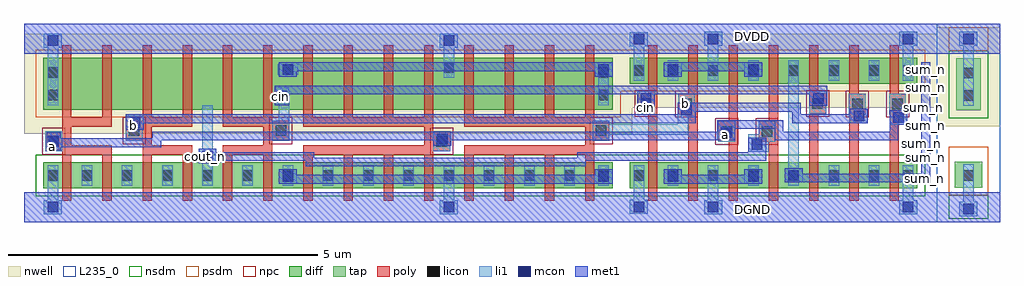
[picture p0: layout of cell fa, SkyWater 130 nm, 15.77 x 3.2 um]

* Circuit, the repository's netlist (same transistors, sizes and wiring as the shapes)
* NGSPICE file created from fa.ext - technology: sky130A

.subckt fa sum_n cout_n a b cin DVDD DGND
X0 a_n2314_190# b a_n2444_190# DVDD sky130_fd_pr__pfet_01v8 ad=0.21 pd=1.34 as=0.21 ps=1.34 w=0.84 l=0.15
X1 a_n2184_190# b a_n2314_190# DVDD sky130_fd_pr__pfet_01v8 ad=0.21 pd=1.34 as=0.21 ps=1.34 w=0.84 l=0.15
X2 a_n1664_190# a a_n1794_190# DVDD sky130_fd_pr__pfet_01v8 ad=0.21 pd=1.34 as=0.21 ps=1.34 w=0.84 l=0.15
X3 a_n1144_190# b a_n1274_190# DVDD sky130_fd_pr__pfet_01v8 ad=0.21 pd=1.34 as=0.21 ps=1.34 w=0.84 l=0.15
X4 a_n2574_190# a DVDD DVDD sky130_fd_pr__pfet_01v8 ad=0.21 pd=1.34 as=0.252 ps=2.28 w=0.84 l=0.15
X5 a_n1534_190# a a_n1664_190# DVDD sky130_fd_pr__pfet_01v8 ad=0.21 pd=1.34 as=0.21 ps=1.34 w=0.84 l=0.15
X6 a_n1014_190# b a_n1144_190# DVDD sky130_fd_pr__pfet_01v8 ad=0.21 pd=1.34 as=0.21 ps=1.34 w=0.84 l=0.15
X7 a_n1924_190# cin a_n2054_190# DVDD sky130_fd_pr__pfet_01v8 ad=0.21 pd=1.34 as=0.21 ps=1.34 w=0.84 l=0.15
X8 DVDD a a_n1534_190# DVDD sky130_fd_pr__pfet_01v8 ad=0.21 pd=1.34 as=0.21 ps=1.34 w=0.84 l=0.15
X9 a_n30_n64# b a_n160_n64# DGND sky130_fd_pr__nfet_01v8 ad=0.105 pd=0.92 as=0.105 ps=0.92 w=0.42 l=0.15
X10 a_n1794_190# a a_n1924_190# DVDD sky130_fd_pr__pfet_01v8 ad=0.21 pd=1.34 as=0.21 ps=1.34 w=0.84 l=0.15
X11 a_n1274_190# b DVDD DVDD sky130_fd_pr__pfet_01v8 ad=0.21 pd=1.34 as=0.21 ps=1.34 w=0.84 l=0.15
X12 a_n2054_n64# cin cout_n DGND sky130_fd_pr__nfet_01v8 ad=0.105 pd=0.92 as=0.105 ps=0.92 w=0.42 l=0.15
X13 a_n1924_190# b a_n1014_190# DVDD sky130_fd_pr__pfet_01v8 ad=0.252 pd=2.28 as=0.21 ps=1.34 w=0.84 l=0.15
X14 a_n2444_n64# a a_n2574_n64# DGND sky130_fd_pr__nfet_01v8 ad=0.105 pd=0.92 as=0.105 ps=0.92 w=0.42 l=0.15
X15 a_n160_n64# cin sum_n DGND sky130_fd_pr__nfet_01v8 ad=0.105 pd=0.92 as=0.105 ps=0.92 w=0.42 l=0.15
X16 a_n2314_n64# b a_n2444_n64# DGND sky130_fd_pr__nfet_01v8 ad=0.105 pd=0.92 as=0.105 ps=0.92 w=0.42 l=0.15
X17 DGND b a_n680_n64# DGND sky130_fd_pr__nfet_01v8 ad=0.105 pd=0.92 as=0.105 ps=0.92 w=0.42 l=0.15
X18 cout_n b a_n2314_n64# DGND sky130_fd_pr__nfet_01v8 ad=0.105 pd=0.92 as=0.105 ps=0.92 w=0.42 l=0.15
X19 a_n1664_n64# a a_n1794_n64# DGND sky130_fd_pr__nfet_01v8 ad=0.105 pd=0.92 as=0.105 ps=0.92 w=0.42 l=0.15
X20 a_n1144_n64# b a_n1274_n64# DGND sky130_fd_pr__nfet_01v8 ad=0.105 pd=0.92 as=0.105 ps=0.92 w=0.42 l=0.15
X21 a_n680_n64# a DGND DGND sky130_fd_pr__nfet_01v8 ad=0.105 pd=0.92 as=0.105 ps=0.92 w=0.42 l=0.15
X22 a_n30_274# b a_n160_274# DVDD sky130_fd_pr__pfet_01v8 ad=0.105 pd=0.92 as=0.105 ps=0.92 w=0.42 l=0.15
X23 a_n2574_n64# a DGND DGND sky130_fd_pr__nfet_01v8 ad=0.105 pd=0.92 as=0.126 ps=1.44 w=0.42 l=0.15
X24 a_n1534_n64# a a_n1664_n64# DGND sky130_fd_pr__nfet_01v8 ad=0.105 pd=0.92 as=0.105 ps=0.92 w=0.42 l=0.15
X25 a_n1014_n64# b a_n1144_n64# DGND sky130_fd_pr__nfet_01v8 ad=0.105 pd=0.92 as=0.105 ps=0.92 w=0.42 l=0.15
X26 sum_n cout_n a_n680_n64# DGND sky130_fd_pr__nfet_01v8 ad=0.105 pd=0.92 as=0.105 ps=0.92 w=0.42 l=0.15
X27 a_n1924_n64# cin a_n2054_n64# DGND sky130_fd_pr__nfet_01v8 ad=0.105 pd=0.92 as=0.105 ps=0.92 w=0.42 l=0.15
X28 DGND a a_n1534_n64# DGND sky130_fd_pr__nfet_01v8 ad=0.105 pd=0.92 as=0.105 ps=0.92 w=0.42 l=0.15
X29 a_n680_n64# cin DGND DGND sky130_fd_pr__nfet_01v8 ad=0.105 pd=0.92 as=0.126 ps=1.44 w=0.42 l=0.15
X30 DGND a a_n30_n64# DGND sky130_fd_pr__nfet_01v8 ad=0.126 pd=1.44 as=0.105 ps=0.92 w=0.42 l=0.15
X31 a_n160_274# cin sum_n DVDD sky130_fd_pr__pfet_01v8 ad=0.105 pd=0.92 as=0.105 ps=0.92 w=0.42 l=0.15
X32 a_n1794_n64# a a_n1924_n64# DGND sky130_fd_pr__nfet_01v8 ad=0.105 pd=0.92 as=0.105 ps=0.92 w=0.42 l=0.15
X33 a_n1274_n64# b DGND DGND sky130_fd_pr__nfet_01v8 ad=0.105 pd=0.92 as=0.105 ps=0.92 w=0.42 l=0.15
X34 a_n1924_n64# b a_n1014_n64# DGND sky130_fd_pr__nfet_01v8 ad=0.126 pd=1.44 as=0.105 ps=0.92 w=0.42 l=0.15
X35 DVDD b a_n680_274# DVDD sky130_fd_pr__pfet_01v8 ad=0.105 pd=0.92 as=0.105 ps=0.92 w=0.42 l=0.15
X36 a_n680_274# a DVDD DVDD sky130_fd_pr__pfet_01v8 ad=0.105 pd=0.92 as=0.105 ps=0.92 w=0.42 l=0.15
X37 sum_n cout_n a_n680_274# DVDD sky130_fd_pr__pfet_01v8 ad=0.105 pd=0.92 as=0.105 ps=0.92 w=0.42 l=0.15
X38 a_n2054_190# cin a_n2184_190# DVDD sky130_fd_pr__pfet_01v8 ad=0.21 pd=1.34 as=0.21 ps=1.34 w=0.84 l=0.15
X39 a_n680_274# cin DVDD DVDD sky130_fd_pr__pfet_01v8 ad=0.105 pd=0.92 as=0.126 ps=1.44 w=0.42 l=0.15
X40 DVDD a a_n30_274# DVDD sky130_fd_pr__pfet_01v8 ad=0.126 pd=1.44 as=0.105 ps=0.92 w=0.42 l=0.15
X41 a_n2444_190# a a_n2574_190# DVDD sky130_fd_pr__pfet_01v8 ad=0.21 pd=1.34 as=0.21 ps=1.34 w=0.84 l=0.15
.ends

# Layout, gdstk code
from math import pi, radians
import gdstk
lib = gdstk.Library(unit=1e-6, precision=1e-09)
def R(c, l, rs):  # rectangles x0, y0, x1, y1
    for r in rs: c.add(gdstk.rectangle(r[:2], r[2:], *l))
def A(c, l, x, y, w, h, nx, ny, dx, dy):  # array of equal rectangles
    R(c, l, [(x+i*dx, y+j*dy, x+i*dx+w, y+j*dy+h) for i in range(nx) for j in range(ny)])
nwell = (64, 20)
diff = (65, 20)
tap = (65, 44)
poly = (66, 20)
licon = (66, 44)
li1 = (67, 20)
mcon = (67, 44)
met1 = (68, 20)
nsdm = (93, 44)
psdm = (94, 20)
npc = (95, 20)
L235_0 = (235, 0)

nfet_1 = lib.new_cell('nfet$1')
R(nfet_1, diff, [(0,0,4.65,0.42)])
A(nfet_1, poly, 0.3, -0.2, 0.15, 0.82, 7, 1, 0.65, 0)
A(nfet_1, licon, 0.615, 0.125, 0.17, 0.17, 6, 1, 0.65, 0)
R(nfet_1, licon, [(0.065,0.125,0.235,0.295), (4.415,0.125,4.585,0.295)])
A(nfet_1, li1, 0.615, 0.045, 0.17, 0.33, 6, 1, 0.65, 0)
R(nfet_1, li1, [(0.065,0.045,0.235,0.375), (4.415,0.045,4.585,0.375)])
R(nfet_1, nsdm, [(-0.125,-0.125,4.775,0.545)])

vias_gen = lib.new_cell('vias_gen')
R(vias_gen, li1, [(0,0,0.29,0.23)])
R(vias_gen, mcon, [(0.06,0.03,0.23,0.2)])
R(vias_gen, met1, [(0,0,0.29,0.23)])

tap_ = lib.new_cell('tap')
R(tap_, nwell, [(-1.455,0.92,-0.435,2.525)])
R(tap_, tap, [(-1.17,-0.07,-0.72,0.35), (-1.14,1.18,-0.75,2.02)])
R(tap_, licon, [(-1.03,0.04,-0.86,0.21), (-1.03,1.335,-0.86,1.505), (-1.03,1.695,-0.86,1.865)])
R(tap_, li1, [(-1.03,-0.3,-0.86,-0.025), (-1.03,-0.025,-0.86,0.305), (-1.03,1.255,-0.86,1.945), (-1.03,1.945,-0.86,2.25)])
R(tap_, met1, [(-1.455,-0.625,-0.435,-0.145), (-1.455,2.095,-0.435,2.575)])
R(tap_, nsdm, [(-1.265,-0.575,-0.625,-0.195), (-1.265,1.055,-0.625,2.145)])
R(tap_, psdm, [(-1.265,-0.195,-0.625,0.59), (-1.265,2.145,-0.625,2.525)])
R(tap_, L235_0, [(-1.455,-0.625,-0.435,2.575)])
tap_.add(gdstk.Reference(vias_gen, (-1.09,-0.53)))
tap_.add(gdstk.Reference(vias_gen, (-1.09,2.22)))

vias_gen_1 = lib.new_cell('vias_gen$1')
R(vias_gen_1, li1, [(0,0,0.29,0.23)])
R(vias_gen_1, mcon, [(0.06,0.03,0.23,0.2)])
R(vias_gen_1, met1, [(0,0,0.29,0.23)])

vias_gen_2 = lib.new_cell('vias_gen$2')
R(vias_gen_2, poly, [(0,0,0.33,0.27)])
R(vias_gen_2, licon, [(0.08,0.05,0.25,0.22)])
R(vias_gen_2, li1, [(0,0,0.33,0.27)])
R(vias_gen_2, npc, [(-0.05,-0.05,0.38,0.32)])

vias_gen_3 = lib.new_cell('vias_gen$3')
R(vias_gen_3, li1, [(0,0,0.29,0.23)])
R(vias_gen_3, mcon, [(0.06,0.03,0.23,0.2)])
R(vias_gen_3, met1, [(0,0,0.29,0.23)])

vias_gen_4 = lib.new_cell('vias_gen$4')
R(vias_gen_4, li1, [(0,0,0.29,0.23)])
R(vias_gen_4, mcon, [(0.06,0.03,0.23,0.2)])
R(vias_gen_4, met1, [(0,0,0.29,0.23)])

pfet_1 = lib.new_cell('pfet$1')
R(pfet_1, nwell, [(-0.315,-0.39,4.965,0.81)])
R(pfet_1, diff, [(0,0,4.65,0.42)])
A(pfet_1, poly, 0.3, -0.2, 0.15, 0.82, 7, 1, 0.65, 0)
A(pfet_1, licon, 0.615, 0.125, 0.17, 0.17, 6, 1, 0.65, 0)
R(pfet_1, licon, [(0.065,0.125,0.235,0.295), (4.415,0.125,4.585,0.295)])
A(pfet_1, li1, 0.615, 0.045, 0.17, 0.33, 6, 1, 0.65, 0)
R(pfet_1, li1, [(0.065,0.045,0.235,0.375), (4.415,0.045,4.585,0.375)])
R(pfet_1, psdm, [(-0.125,-0.125,4.775,0.545)])

vias_gen_5 = lib.new_cell('vias_gen$5')
R(vias_gen_5, li1, [(0,0,0.29,0.23)])
R(vias_gen_5, mcon, [(0.06,0.03,0.23,0.2)])
R(vias_gen_5, met1, [(0,0,0.29,0.23)])

pfet_2 = lib.new_cell('pfet$2')
R(pfet_2, nwell, [(-0.315,-0.39,9.515,1.23)])
R(pfet_2, diff, [(0,0,9.2,0.84)])
A(pfet_2, poly, 0.3, -0.2, 0.15, 1.24, 14, 1, 0.65, 0)
R(pfet_2, licon, [(0.065,0.155,0.235,0.325), (8.965,0.155,9.135,0.325), (0.065,0.515,0.235,0.685), (8.965,0.515,9.135,0.685)])
R(pfet_2, li1, [(0.065,0.075,0.235,0.765), (8.965,0.075,9.135,0.765)])
R(pfet_2, psdm, [(-0.125,-0.125,9.325,0.965)])

nfet_2 = lib.new_cell('nfet$2')
R(nfet_2, diff, [(0,0,9.2,0.42)])
A(nfet_2, poly, 0.3, -0.2, 0.15, 0.82, 14, 1, 0.65, 0)
A(nfet_2, licon, 0.615, 0.125, 0.17, 0.17, 13, 1, 0.65, 0)
R(nfet_2, licon, [(0.065,0.125,0.235,0.295), (8.965,0.125,9.135,0.295)])
A(nfet_2, li1, 0.615, 0.045, 0.17, 0.33, 13, 1, 0.65, 0)
R(nfet_2, li1, [(0.065,0.045,0.235,0.375), (8.965,0.045,9.135,0.375)])
R(nfet_2, nsdm, [(-0.125,-0.125,9.325,0.545)])

c_fa = lib.new_cell('fa')
R(c_fa, licon, [(-9.455,1.515,-9.285,1.685), (-6.855,1.545,-6.685,1.715)])
R(c_fa, li1, [(-1.645,0.27,-1.605,0.435), (-1.935,0.5,-1.765,0.555), (-9.535,1.515,-9.205,1.685)])
R(c_fa, met1, [(-13.635,-0.865,1.115,-0.385), (-1.935,0.265,-1.645,0.27), (-9.58,1.315,-9.35,1.34), (-13.635,1.855,1.115,2.335)])
R(c_fa, nsdm, [(-3.995,-0.445,-3.975,0.225)])
R(c_fa, psdm, [(-3.995,1.245,-3.975,1.915)])
c_fa.add(gdstk.FlexPath([(-6.77,-0.275),(-6.77,-0.51)], 0.17, ends="flush", simple_path=True, layer=67, datatype=20))  # li1
c_fa.add(gdstk.FlexPath([(-6.77,1.465),(-6.77,1.95)], 0.17, ends="flush", simple_path=True, layer=67, datatype=20))  # li1
c_fa.add(gdstk.FlexPath([(-13.17,1.715),(-13.17,1.95)], 0.17, ends="flush", simple_path=True, layer=67, datatype=20))  # li1
c_fa.add(gdstk.FlexPath([(-13.17,-0.275),(-13.17,-0.51)], 0.17, ends="flush", simple_path=True, layer=67, datatype=20))  # li1
c_fa.add(gdstk.FlexPath([(-10.67,0.055),(-10.67,1.025)], 0.17, ends="flush", simple_path=True, layer=67, datatype=20))  # li1
c_fa.add(gdstk.FlexPath([(-2.99,0.83),(-2.99,0.63),(-4.175,0.63)], 0.17, ends="flush", simple_path=True, layer=67, datatype=20))  # li1
c_fa.add(gdstk.FlexPath([(-9.435,0.775),(-9.435,1.05)], 0.17, ends="flush", simple_path=True, layer=67, datatype=20))  # li1
c_fa.add(gdstk.FlexPath([(-2.5,1.745),(-2.5,1.98)], 0.17, ends="flush", simple_path=True, layer=67, datatype=20))  # li1
c_fa.add(gdstk.FlexPath([(-3.7,1.74),(-3.7,1.975)], 0.17, ends="flush", simple_path=True, layer=67, datatype=20))  # li1
c_fa.add(gdstk.FlexPath([(0.65,1.745),(0.65,1.98)], 0.17, ends="flush", simple_path=True, layer=67, datatype=20))  # li1
c_fa.add(gdstk.FlexPath([(-1.2,1.415),(-1.2,0.055)], 0.17, ends="flush", simple_path=True, layer=67, datatype=20))  # li1
c_fa.add(gdstk.FlexPath([(-2.5,-0.275),(-2.5,-0.51)], 0.17, ends="flush", simple_path=True, layer=67, datatype=20))  # li1
c_fa.add(gdstk.FlexPath([(-3.7,-0.27),(-3.7,-0.505)], 0.17, ends="flush", simple_path=True, layer=67, datatype=20))  # li1
c_fa.add(gdstk.FlexPath([(0.65,-0.275),(0.65,-0.51)], 0.17, ends="flush", simple_path=True, layer=67, datatype=20))  # li1
c_fa.add(gdstk.FlexPath([(0.42,0.455),(0.42,0.71)], 0.14, ends="flush", simple_path=True, layer=68, datatype=20))  # met1
c_fa.add(gdstk.FlexPath([(0.35,0.525),(-1.365,0.525)], 0.14, ends="flush", simple_path=True, layer=68, datatype=20))  # met1
c_fa.add(gdstk.FlexPath([(-1.055,-0.155),(0.935,-0.155),(0.935,1.715)], 0.14, ends="flush", simple_path=True, layer=68, datatype=20))  # met1
c_fa.add(gdstk.FlexPath([(-4.415,-0.175),(-9.225,-0.175)], 0.14, ends="flush", simple_path=True, layer=68, datatype=20))  # met1
c_fa.add(gdstk.FlexPath([(-4.415,1.645),(-9.225,1.645)], 0.14, ends="flush", simple_path=True, layer=68, datatype=20))  # met1
c_fa.add(gdstk.FlexPath([(-1.645,0.195),(-4.555,0.195)], 0.14, ends="flush", simple_path=True, layer=68, datatype=20))  # met1
c_fa.add(gdstk.FlexPath([(-2.785,0.805),(-11.99,0.805)], 0.14, ends="flush", simple_path=True, layer=68, datatype=20))  # met1
c_fa.add(gdstk.FlexPath([(-3.73,1.27),(-9.35,1.27)], 0.14, ends="flush", simple_path=True, layer=68, datatype=20))  # met1
c_fa.add(gdstk.FlexPath([(-2.435,0.525),(-11.56,0.525)], 0.14, ends="flush", simple_path=True, layer=68, datatype=20))  # met1
c_fa.add(gdstk.FlexPath([(-11.49,0.525),(-11.49,0.415),(-13.04,0.415)], 0.14, ends="flush", simple_path=True, layer=68, datatype=20))  # met1
c_fa.add(gdstk.FlexPath([(-4.625,0.265),(-4.625,0.105),(-9.085,0.105)], 0.14, ends="flush", simple_path=True, layer=68, datatype=20))  # met1
c_fa.add(gdstk.FlexPath([(-9.015,0.035),(-9.015,0.195),(-10.525,0.195),(-10.525,0.195),(-10.525,0.195)], 0.14, ends="flush", simple_path=True, layer=68, datatype=20))  # met1
c_fa.add(gdstk.FlexPath([(-3.005,-0.175),(-1.995,-0.175)], 0.14, ends="flush", simple_path=True, layer=68, datatype=20))  # met1
c_fa.add(gdstk.FlexPath([(-3.005,1.645),(-1.995,1.645)], 0.14, ends="flush", simple_path=True, layer=68, datatype=20))  # met1
c_fa.add(gdstk.FlexPath([(-3.73,1.27),(-0.655,1.27)], 0.14, ends="flush", simple_path=True, layer=68, datatype=20))  # met1
c_fa.add(gdstk.FlexPath([(-1.085,0.805),(-0.29,0.805)], 0.14, ends="flush", simple_path=True, layer=68, datatype=20))  # met1
c_fa.add(gdstk.FlexPath([(-1.155,0.735),(-1.155,1.06)], 0.14, ends="flush", simple_path=True, layer=68, datatype=20))  # met1
c_fa.add(gdstk.FlexPath([(-1.225,0.99),(-2.785,0.99)], 0.14, ends="flush", simple_path=True, layer=68, datatype=20))  # met1
c_fa.add(gdstk.FlexPath([(-1.435,0.455),(-1.435,0.71),(-2.435,0.71)], 0.14, ends="flush", simple_path=True, layer=68, datatype=20))  # met1
c_fa.add(gdstk.FlexPath([(-4.42,0.75),(-6.505,0.75),(-6.52,0.75)], 0.15, ends="flush", simple_path=True, layer=66, datatype=20))  # poly
c_fa.add(gdstk.FlexPath([(-4.42,0.3),(-6.52,0.3)], 0.15, ends="flush", simple_path=True, layer=66, datatype=20))  # poly
c_fa.add(gdstk.FlexPath([(-7.02,0.75),(-9.12,0.75)], 0.15, ends="flush", simple_path=True, layer=66, datatype=20))  # poly
c_fa.add(gdstk.FlexPath([(-7.02,0.3),(-9.12,0.3)], 0.15, ends="flush", simple_path=True, layer=66, datatype=20))  # poly
c_fa.add(gdstk.FlexPath([(-9.62,0.3),(-10.42,0.3)], 0.15, ends="flush", simple_path=True, layer=66, datatype=20))  # poly
c_fa.add(gdstk.FlexPath([(-9.62,0.75),(-10.42,0.75)], 0.15, ends="flush", simple_path=True, layer=66, datatype=20))  # poly
c_fa.add(gdstk.FlexPath([(-10.92,0.75),(-11.72,0.75)], 0.15, ends="flush", simple_path=True, layer=66, datatype=20))  # poly
c_fa.add(gdstk.FlexPath([(-12.22,0.75),(-13.02,0.75)], 0.15, ends="flush", simple_path=True, layer=66, datatype=20))  # poly
c_fa.add(gdstk.FlexPath([(-12.22,0.3),(-13.02,0.3)], 0.15, ends="flush", simple_path=True, layer=66, datatype=20))  # poly
c_fa.add(gdstk.FlexPath([(-10.92,0.3),(-11.72,0.3)], 0.15, ends="flush", simple_path=True, layer=66, datatype=20))  # poly
c_fa.add(gdstk.FlexPath([(-11.645,0.375),(-11.645,0.675)], 0.15, ends="flush", simple_path=True, layer=66, datatype=20))  # poly
c_fa.add(gdstk.FlexPath([(-12.945,0.375),(-12.945,0.675)], 0.15, ends="flush", simple_path=True, layer=66, datatype=20))  # poly
c_fa.add(gdstk.FlexPath([(-7.095,0.375),(-7.095,0.675)], 0.15, ends="flush", simple_path=True, layer=66, datatype=20))  # poly
c_fa.add(gdstk.FlexPath([(-9.695,0.375),(-9.695,0.675)], 0.15, ends="flush", simple_path=True, layer=66, datatype=20))  # poly
c_fa.add(gdstk.FlexPath([(-4.495,0.375),(-4.495,0.675)], 0.15, ends="flush", simple_path=True, layer=66, datatype=20))  # poly
c_fa.add(gdstk.FlexPath([(0.425,0.3),(0.425,1.17)], 0.15, ends="flush", simple_path=True, layer=66, datatype=20))  # poly
c_fa.add(gdstk.FlexPath([(-0.225,0.3),(-0.225,1.17)], 0.15, ends="flush", simple_path=True, layer=66, datatype=20))  # poly
c_fa.add(gdstk.FlexPath([(-0.875,0.3),(-0.875,1.17)], 0.15, ends="flush", simple_path=True, layer=66, datatype=20))  # poly
c_fa.add(gdstk.FlexPath([(-1.525,0.3),(-1.525,1.17)], 0.15, ends="flush", simple_path=True, layer=66, datatype=20))  # poly
c_fa.add(gdstk.FlexPath([(-2.175,0.3),(-2.175,1.17)], 0.15, ends="flush", simple_path=True, layer=66, datatype=20))  # poly
c_fa.add(gdstk.FlexPath([(-2.825,0.3),(-2.825,1.17)], 0.15, ends="flush", simple_path=True, layer=66, datatype=20))  # poly
c_fa.add(gdstk.FlexPath([(-3.475,0.3),(-3.475,1.17)], 0.15, ends="flush", simple_path=True, layer=66, datatype=20))  # poly
c_fa.add(gdstk.Reference(nfet_1, (-3.85,-0.32)))
c_fa.add(gdstk.Reference(tap_, (2.57,-0.24)))
c_fa.add(gdstk.Reference(vias_gen_1, (-2.645,-0.74)))
c_fa.add(gdstk.Reference(vias_gen_1, (-3.845,-0.735)))
c_fa.add(gdstk.Reference(vias_gen_2, (-3.45,0.885), rotation=pi/2))
c_fa.add(gdstk.Reference(vias_gen_2, (-2.795,0.875), rotation=pi/2))
c_fa.add(gdstk.Reference(vias_gen_2, (-2.145,0.435), rotation=pi/2))
c_fa.add(gdstk.Reference(vias_gen_3, (0.505,-0.74)))
c_fa.add(gdstk.Reference(vias_gen_2, (-0.675,0.885), rotation=pi/2))
c_fa.add(gdstk.Reference(vias_gen_2, (-1.495,0.435), rotation=pi/2))
c_fa.add(gdstk.Reference(vias_gen_4, (-3.73,1.015)))
c_fa.add(gdstk.Reference(vias_gen_2, (0.615,0.875), rotation=pi/2))
c_fa.add(gdstk.Reference(vias_gen_4, (-2.645,2.21), x_reflection=True))
c_fa.add(gdstk.Reference(vias_gen_4, (-0.945,1.015)))
c_fa.add(gdstk.Reference(vias_gen_2, (-0.035,0.875), rotation=pi/2))
c_fa.add(gdstk.Reference(vias_gen_3, (-3.295,-0.245)))
c_fa.add(gdstk.Reference(vias_gen_4, (-3.075,0.83)))
c_fa.add(gdstk.Reference(vias_gen_4, (-0.29,0.735)))
c_fa.add(gdstk.Reference(pfet_1, (-3.85,1.37)))
c_fa.add(gdstk.Reference(vias_gen_4, (-3.845,2.205), x_reflection=True))
c_fa.add(gdstk.Reference(vias_gen_4, (0.505,2.21), x_reflection=True))
c_fa.add(gdstk.Reference(vias_gen_4, (-1.995,-0.245)))
c_fa.add(gdstk.Reference(vias_gen_4, (-3.295,1.715), x_reflection=True))
c_fa.add(gdstk.Reference(vias_gen_4, (-1.995,1.715), x_reflection=True))
c_fa.add(gdstk.Reference(vias_gen_4, (-2.435,0.455)))
c_fa.add(gdstk.Reference(vias_gen_4, (0.35,0.71)))
c_fa.add(gdstk.Reference(vias_gen_4, (-1.935,0.27)))
c_fa.add(gdstk.Reference(vias_gen_5, (-1.345,-0.225)))
c_fa.add(gdstk.Reference(pfet_2, (-13.32,0.95)))
c_fa.add(gdstk.Reference(vias_gen_5, (-9.515,-0.245)))
c_fa.add(gdstk.Reference(nfet_2, (-13.32,-0.32)))
c_fa.add(gdstk.Reference(vias_gen_5, (-4.415,-0.245)))
c_fa.add(gdstk.Reference(vias_gen_5, (-9.515,1.485)))
c_fa.add(gdstk.Reference(vias_gen_5, (-4.415,1.485)))
c_fa.add(gdstk.Reference(vias_gen_5, (-6.915,-0.74)))
c_fa.add(gdstk.Reference(vias_gen_5, (-6.915,2.18), x_reflection=True))
c_fa.add(gdstk.Reference(vias_gen_5, (-13.315,2.18), x_reflection=True))
c_fa.add(gdstk.Reference(vias_gen_5, (-13.315,-0.74)))
c_fa.add(gdstk.Reference(vias_gen_5, (-10.815,0.085)))
c_fa.add(gdstk.Reference(vias_gen_2, (-4.175,0.445), rotation=pi/2))
c_fa.add(gdstk.Reference(vias_gen_2, (-11.72,0.445), rotation=pi/2))
c_fa.add(gdstk.Reference(vias_gen_5, (-11.99,0.625)))
c_fa.add(gdstk.Reference(vias_gen_2, (-6.75,0.275), rotation=pi/2))
c_fa.add(gdstk.Reference(vias_gen_2, (-13.02,0.275), rotation=pi/2))
c_fa.add(gdstk.Reference(vias_gen_5, (-13.04,0.295), rotation=pi/2))
c_fa.add(gdstk.Reference(vias_gen_2, (-9.35,0.445), rotation=pi/2))
c_fa.add(gdstk.Reference(vias_gen_5, (-9.35,1.025), rotation=pi/2))
c_fa.add(gdstk.Reference(vias_gen_5, (-7.02,0.365)))
c_fa.add(gdstk.Label('sum_n', (0.925,1.595), layer=68, texttype=5))
c_fa.add(gdstk.Label('sum_n', (0.925,1.445), layer=68, texttype=5))
c_fa.add(gdstk.Label('sum_n', (0.925,1.305), layer=68, texttype=5))
c_fa.add(gdstk.Label('sum_n', (0.935,1.13), layer=68, texttype=5))
c_fa.add(gdstk.Label('sum_n', (0.905,0.98), layer=68, texttype=5))
c_fa.add(gdstk.Label('sum_n', (0.935,0.835), layer=68, texttype=5))
c_fa.add(gdstk.Label('sum_n', (0.935,0.7), layer=68, texttype=5))
c_fa.add(gdstk.Label('sum_n', (0.9,0.55), layer=68, texttype=5))
c_fa.add(gdstk.Label('sum_n', (0.865,0.405), layer=68, texttype=5))
c_fa.add(gdstk.Label('sum_n', (0.935,0.305), layer=68, texttype=5))
c_fa.add(gdstk.Label('sum_n', (0.925,0.17), layer=68, texttype=5))
c_fa.add(gdstk.Label('sum_n', (0.865,0.04), layer=68, texttype=5))
c_fa.add(gdstk.Label('sum_n', (0.925,-0.055), layer=68, texttype=5))
c_fa.add(gdstk.Label('sum_n', (0.91,-0.155), layer=68, texttype=5))
c_fa.add(gdstk.Label('cout_n', (-10.705,0.19), layer=68, texttype=5))
c_fa.add(gdstk.Label('a', (-13.17,0.355), layer=68, texttype=5))
c_fa.add(gdstk.Label('b', (-11.865,0.695), layer=68, texttype=5))
c_fa.add(gdstk.Label('cin', (-9.485,1.16), layer=68, texttype=5))
c_fa.add(gdstk.Label('DVDD', (-1.865,2.125), layer=68, texttype=5))
c_fa.add(gdstk.Label('DGND', (-1.865,-0.655), layer=68, texttype=5))
c_fa.add(gdstk.Label('cin', (-3.6,0.985), layer=67, texttype=5))
c_fa.add(gdstk.Label('b', (-2.945,1.055), layer=67, texttype=5))
c_fa.add(gdstk.Label('a', (-2.295,0.555), layer=67, texttype=5))

lib.write_gds('fa.gds')
